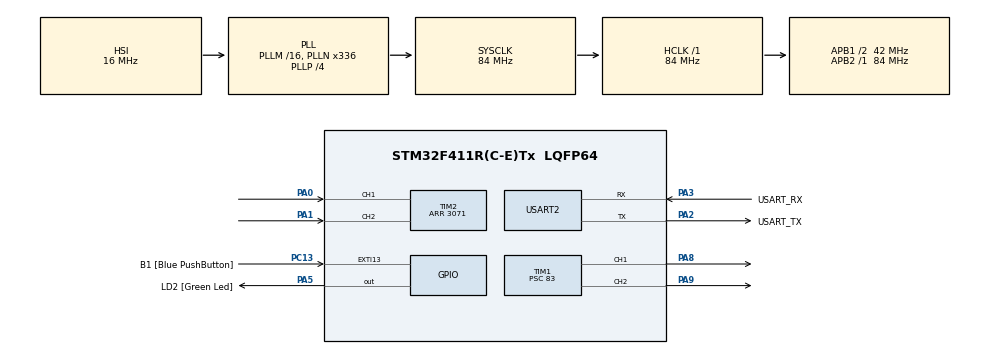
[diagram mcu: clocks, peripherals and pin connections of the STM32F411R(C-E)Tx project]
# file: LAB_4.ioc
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ARM.CMSIS.5.6.0.CMSISJjCORE=true
ARM.CMSIS.5.6.0.CMSISJjDSP=Library
Mcu.Family=STM32F4
Mcu.Name=STM32F411R(C-E)Tx
Mcu.Package=LQFP64
NVIC.PriorityGroup=NVIC_PRIORITYGROUP_0
PA0-WKUP.Signal=S_TIM2_CH1_ETR
PA1.Signal=S_TIM2_CH2
PA13.GPIO_Label=TMS
PA13.Mode=Trace_Asynchronous_SW
PA13.Signal=SYS_JTMS-SWDIO
PA14.GPIO_Label=TCK
PA14.Mode=Trace_Asynchronous_SW
PA14.Signal=SYS_JTCK-SWCLK
PA2.GPIO_Label=USART_TX
PA2.Mode=Asynchronous
PA2.Signal=USART2_TX
PA3.GPIO_Label=USART_RX
PA3.Mode=Asynchronous
PA3.Signal=USART2_RX
PA5.GPIO_Label=LD2 [Green Led]
PA5.Signal=GPIO_Output
PA8.Signal=S_TIM1_CH1
PA9.Signal=S_TIM1_CH2
PB3.GPIO_Label=SWO
PB3.Mode=Trace_Asynchronous_SW
PB3.Signal=SYS_JTDO-SWO
PC13-ANTI_TAMP.GPIO_Label=B1 [Blue PushButton]
PC13-ANTI_TAMP.GPIO_ModeDefaultEXTI=GPIO_MODE_IT_FALLING
PC13-ANTI_TAMP.Signal=GPXTI13
PC14-OSC32_IN.Mode=LSE-External-Oscillator
PC14-OSC32_IN.Signal=RCC_OSC32_IN
PC15-OSC32_OUT.Mode=LSE-External-Oscillator
PC15-OSC32_OUT.Signal=RCC_OSC32_OUT
PH0\ -\ OSC_IN.Mode=HSE-External-Clock-Source
PH0\ -\ OSC_IN.Signal=RCC_OSC_IN
PH1\ -\ OSC_OUT.Mode=HSE-External-Clock-Source
PH1\ -\ OSC_OUT.Signal=RCC_OSC_OUT
ProjectManager.HeapSize=0x200
ProjectManager.StackSize=0x400
ProjectManager.TargetToolchain=STM32CubeIDE
RCC.48MHZClocksFreq_Value=84000000
RCC.AHBFreq_Value=84000000
RCC.APB1CLKDivider=RCC_HCLK_DIV2
RCC.APB1Freq_Value=42000000
RCC.APB1TimFreq_Value=84000000
RCC.APB2Freq_Value=84000000
RCC.APB2TimFreq_Value=84000000
RCC.CortexFreq_Value=84000000
RCC.FLatency-AdvancedSettings=FLASH_LATENCY_2
RCC.HCLKFreq_Value=84000000
RCC.HSE_VALUE=8000000
RCC.HSI_VALUE=16000000
RCC.PLLN=336
RCC.PLLP=RCC_PLLP_DIV4
RCC.SYSCLKFreq_VALUE=84000000
RCC.SYSCLKSource=RCC_SYSCLKSOURCE_PLLCLK
RCC.VCOOutputFreq_Value=336000000
SH.S_TIM1_CH1.0=TIM1_CH1,PWM Generation1 CH1
SH.S_TIM1_CH2.0=TIM1_CH2,PWM Generation2 CH2
SH.S_TIM2_CH1_ETR.0=TIM2_CH1,Encoder_Interface
SH.S_TIM2_CH2.0=TIM2_CH2,Encoder_Interface
TIM1.Channel-PWM\ Generation1\ CH1=TIM_CHANNEL_1
TIM1.Channel-PWM\ Generation2\ CH2=TIM_CHANNEL_2
TIM1.Period=99
TIM1.Prescaler=83
TIM2.Period=3071
USART2.VirtualMode=VM_ASYNC
VP_ARM.CMSIS_VS_CMSISJjCORE_5.3.0_5.6.0.Mode=CMSISJjCORE
VP_ARM.CMSIS_VS_CMSISJjDSP_1.7.0_5.6.0.Mode=CMSISJjDSP
VP_TIM1_VS_ClockSourceINT.Mode=Internal
board=NUCLEO-F411RE

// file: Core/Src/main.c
/* USER CODE BEGIN Header */
/**
  ******************************************************************************
  * @file           : main.c
  * @brief          : Main program body
  ******************************************************************************
  * @attention
  *
  * Copyright (c) 2023 STMicroelectronics.
  * All rights reserved.
  *
  * This software is licensed under terms that can be found in the LICENSE file
  * in the root directory of this software component.
  * If no LICENSE file comes with this software, it is provided AS-IS.
  *
  ******************************************************************************
  */
/* USER CODE END Header */
#include "main.h"

/* USER CODE BEGIN Includes */
#include "math.h"
/* USER CODE END Includes */

TIM_HandleTypeDef htim1;
TIM_HandleTypeDef htim2;

UART_HandleTypeDef huart2;

/* USER CODE BEGIN PV */

uint32_t QEIReadRaw;
int32_t setpoint = 0;
int32_t Error_previous;
int32_t Error;
int8_t Direction = 1;
float degree = 0;
float Kp = 0.8;
float Ki = 0.51;
float Kd = 0.14;
float u = 0;
float PWM = 0;
float e_integral;
float Diff_t;
/* USER CODE END PV */

void SystemClock_Config(void);
static void MX_GPIO_Init(void);
static void MX_USART2_UART_Init(void);
static void MX_TIM1_Init(void);
static void MX_TIM2_Init(void);

int main(void)
{

  /* MCU Configuration--------------------------------------------------------*/

  /* Reset of all peripherals, Initializes the Flash interface and the Systick. */
  HAL_Init();

  /* Configure the system clock */
  SystemClock_Config();

  /* Initialize all configured peripherals */
  MX_GPIO_Init();
  MX_USART2_UART_Init();
  MX_TIM1_Init();
  MX_TIM2_Init();
  /* USER CODE BEGIN 2 */

HAL_TIM_Encoder_Start(&htim2, TIM_CHANNEL_1|TIM_CHANNEL_2);

HAL_TIM_Base_Start(&htim1);

HAL_TIM_PWM_Start(&htim1, TIM_CHANNEL_1);
HAL_TIM_PWM_Start(&htim1, TIM_CHANNEL_2);

  /* USER CODE END 2 */

  /* Infinite loop */
  while (1)
  {

    /* USER CODE BEGIN 3 */

	  static uint64_t timestamp = 0;

	  if (HAL_GetTick() > timestamp) // 100 Hz
	  {
		  timestamp = HAL_GetTick() + 10;
		  QEIReadRaw = __HAL_TIM_GET_COUNTER(&htim2);
		  degree = (QEIReadRaw *360) / 3071; // Degree Convert
		  float Delta_T = 0.01; // Delta T value
		  Error = setpoint - degree ; //error
		  Diff_t = (Error - Error_previous) / Delta_T ; //Differential Time
		  e_integral = e_integral + (Error * Delta_T);//integral Error
		  u = (Kp * Error) + (Ki * e_integral) + (Kd * Diff_t) ;//PID calculate
		  PWM = fabs(u); // set PWM = Absolute u
		  if (PWM > 100){PWM = 100;} // Limit PWM
		  Direction = 1; // Motor start
		  if (u < 0){Direction = -1;} // Invert Motor
		  if (Direction == 1){
			  __HAL_TIM_SET_COMPARE(&htim1, TIM_CHANNEL_2, PWM);
			  __HAL_TIM_SET_COMPARE(&htim1, TIM_CHANNEL_1, 0);
		  }
		  else if (Direction == -1){
			  __HAL_TIM_SET_COMPARE(&htim1, TIM_CHANNEL_2, 0);
			  __HAL_TIM_SET_COMPARE(&htim1, TIM_CHANNEL_1, PWM);
		  }
		  if (Error == 0){e_integral = 0;} // Set zero stack value of Ki
	  }
	  Error_previous = Error;
  }
  /* USER CODE END 3 */
}

void SystemClock_Config(void)
{
  RCC_OscInitTypeDef RCC_OscInitStruct = {0};
  RCC_ClkInitTypeDef RCC_ClkInitStruct = {0};

  /** Configure the main internal regulator output voltage
  */
  __HAL_RCC_PWR_CLK_ENABLE();
  __HAL_PWR_VOLTAGESCALING_CONFIG(PWR_REGULATOR_VOLTAGE_SCALE1);

  /** Initializes the RCC Oscillators according to the specified parameters
  * in the RCC_OscInitTypeDef structure.
  */
  RCC_OscInitStruct.OscillatorType = RCC_OSCILLATORTYPE_HSI;
  RCC_OscInitStruct.HSIState = RCC_HSI_ON;
  RCC_OscInitStruct.HSICalibrationValue = RCC_HSICALIBRATION_DEFAULT;
  RCC_OscInitStruct.PLL.PLLState = RCC_PLL_ON;
  RCC_OscInitStruct.PLL.PLLSource = RCC_PLLSOURCE_HSI;
  RCC_OscInitStruct.PLL.PLLM = 16;
  RCC_OscInitStruct.PLL.PLLN = 336;
  RCC_OscInitStruct.PLL.PLLP = RCC_PLLP_DIV4;
  RCC_OscInitStruct.PLL.PLLQ = 4;
  if (HAL_RCC_OscConfig(&RCC_OscInitStruct) != HAL_OK)
  {
    Error_Handler();
  }

  /** Initializes the CPU, AHB and APB buses clocks
  */
  RCC_ClkInitStruct.ClockType = RCC_CLOCKTYPE_HCLK|RCC_CLOCKTYPE_SYSCLK
                              |RCC_CLOCKTYPE_PCLK1|RCC_CLOCKTYPE_PCLK2;
  RCC_ClkInitStruct.SYSCLKSource = RCC_SYSCLKSOURCE_PLLCLK;
  RCC_ClkInitStruct.AHBCLKDivider = RCC_SYSCLK_DIV1;
  RCC_ClkInitStruct.APB1CLKDivider = RCC_HCLK_DIV2;
  RCC_ClkInitStruct.APB2CLKDivider = RCC_HCLK_DIV1;

  if (HAL_RCC_ClockConfig(&RCC_ClkInitStruct, FLASH_LATENCY_2) != HAL_OK)
  {
    Error_Handler();
  }
}

static void MX_TIM1_Init(void)
{

  TIM_ClockConfigTypeDef sClockSourceConfig = {0};
  TIM_MasterConfigTypeDef sMasterConfig = {0};
  TIM_OC_InitTypeDef sConfigOC = {0};
  TIM_BreakDeadTimeConfigTypeDef sBreakDeadTimeConfig = {0};

  htim1.Instance = TIM1;
  htim1.Init.Prescaler = 83;
  htim1.Init.CounterMode = TIM_COUNTERMODE_UP;
  htim1.Init.Period = 99;
  htim1.Init.ClockDivision = TIM_CLOCKDIVISION_DIV1;
  htim1.Init.RepetitionCounter = 0;
  htim1.Init.AutoReloadPreload = TIM_AUTORELOAD_PRELOAD_DISABLE;
  if (HAL_TIM_Base_Init(&htim1) != HAL_OK)
  {
    Error_Handler();
  }
  sClockSourceConfig.ClockSource = TIM_CLOCKSOURCE_INTERNAL;
  if (HAL_TIM_ConfigClockSource(&htim1, &sClockSourceConfig) != HAL_OK)
  {
    Error_Handler();
  }
  if (HAL_TIM_PWM_Init(&htim1) != HAL_OK)
  {
    Error_Handler();
  }
  sMasterConfig.MasterOutputTrigger = TIM_TRGO_RESET;
  sMasterConfig.MasterSlaveMode = TIM_MASTERSLAVEMODE_DISABLE;
  if (HAL_TIMEx_MasterConfigSynchronization(&htim1, &sMasterConfig) != HAL_OK)
  {
    Error_Handler();
  }
  sConfigOC.OCMode = TIM_OCMODE_PWM1;
  sConfigOC.Pulse = 0;
  sConfigOC.OCPolarity = TIM_OCPOLARITY_HIGH;
  sConfigOC.OCNPolarity = TIM_OCNPOLARITY_HIGH;
  sConfigOC.OCFastMode = TIM_OCFAST_DISABLE;
  sConfigOC.OCIdleState = TIM_OCIDLESTATE_RESET;
  sConfigOC.OCNIdleState = TIM_OCNIDLESTATE_RESET;
  if (HAL_TIM_PWM_ConfigChannel(&htim1, &sConfigOC, TIM_CHANNEL_1) != HAL_OK)
  {
    Error_Handler();
  }
  if (HAL_TIM_PWM_ConfigChannel(&htim1, &sConfigOC, TIM_CHANNEL_2) != HAL_OK)
  {
    Error_Handler();
  }
  sBreakDeadTimeConfig.OffStateRunMode = TIM_OSSR_DISABLE;
  sBreakDeadTimeConfig.OffStateIDLEMode = TIM_OSSI_DISABLE;
  sBreakDeadTimeConfig.LockLevel = TIM_LOCKLEVEL_OFF;
  sBreakDeadTimeConfig.DeadTime = 0;
  sBreakDeadTimeConfig.BreakState = TIM_BREAK_DISABLE;
  sBreakDeadTimeConfig.BreakPolarity = TIM_BREAKPOLARITY_HIGH;
  sBreakDeadTimeConfig.AutomaticOutput = TIM_AUTOMATICOUTPUT_DISABLE;
  if (HAL_TIMEx_ConfigBreakDeadTime(&htim1, &sBreakDeadTimeConfig) != HAL_OK)
  {
    Error_Handler();
  }
  HAL_TIM_MspPostInit(&htim1);

}

static void MX_TIM2_Init(void)
{

  TIM_Encoder_InitTypeDef sConfig = {0};
  TIM_MasterConfigTypeDef sMasterConfig = {0};

  htim2.Instance = TIM2;
  htim2.Init.Prescaler = 0;
  htim2.Init.CounterMode = TIM_COUNTERMODE_UP;
  htim2.Init.Period = 3071;
  htim2.Init.ClockDivision = TIM_CLOCKDIVISION_DIV1;
  htim2.Init.AutoReloadPreload = TIM_AUTORELOAD_PRELOAD_DISABLE;
  sConfig.EncoderMode = TIM_ENCODERMODE_TI1;
  sConfig.IC1Polarity = TIM_ICPOLARITY_RISING;
  sConfig.IC1Selection = TIM_ICSELECTION_DIRECTTI;
  sConfig.IC1Prescaler = TIM_ICPSC_DIV1;
  sConfig.IC1Filter = 0;
  sConfig.IC2Polarity = TIM_ICPOLARITY_RISING;
  sConfig.IC2Selection = TIM_ICSELECTION_DIRECTTI;
  sConfig.IC2Prescaler = TIM_ICPSC_DIV1;
  sConfig.IC2Filter = 0;
  if (HAL_TIM_Encoder_Init(&htim2, &sConfig) != HAL_OK)
  {
    Error_Handler();
  }
  sMasterConfig.MasterOutputTrigger = TIM_TRGO_RESET;
  sMasterConfig.MasterSlaveMode = TIM_MASTERSLAVEMODE_DISABLE;
  if (HAL_TIMEx_MasterConfigSynchronization(&htim2, &sMasterConfig) != HAL_OK)
  {
    Error_Handler();
  }

}

static void MX_USART2_UART_Init(void)
{

  huart2.Instance = USART2;
  huart2.Init.BaudRate = 115200;
  huart2.Init.WordLength = UART_WORDLENGTH_8B;
  huart2.Init.StopBits = UART_STOPBITS_1;
  huart2.Init.Parity = UART_PARITY_NONE;
  huart2.Init.Mode = UART_MODE_TX_RX;
  huart2.Init.HwFlowCtl = UART_HWCONTROL_NONE;
  huart2.Init.OverSampling = UART_OVERSAMPLING_16;
  if (HAL_UART_Init(&huart2) != HAL_OK)
  {
    Error_Handler();
  }

}

static void MX_GPIO_Init(void)
{
  GPIO_InitTypeDef GPIO_InitStruct = {0};

  /* GPIO Ports Clock Enable */
  __HAL_RCC_GPIOC_CLK_ENABLE();
  __HAL_RCC_GPIOH_CLK_ENABLE();
  __HAL_RCC_GPIOA_CLK_ENABLE();
  __HAL_RCC_GPIOB_CLK_ENABLE();

  /*Configure GPIO pin Output Level */
  HAL_GPIO_WritePin(LD2_GPIO_Port, LD2_Pin, GPIO_PIN_RESET);

  /*Configure GPIO pin : B1_Pin */
  GPIO_InitStruct.Pin = B1_Pin;
  GPIO_InitStruct.Mode = GPIO_MODE_IT_FALLING;
  GPIO_InitStruct.Pull = GPIO_NOPULL;
  HAL_GPIO_Init(B1_GPIO_Port, &GPIO_InitStruct);

  /*Configure GPIO pin : LD2_Pin */
  GPIO_InitStruct.Pin = LD2_Pin;
  GPIO_InitStruct.Mode = GPIO_MODE_OUTPUT_PP;
  GPIO_InitStruct.Pull = GPIO_NOPULL;
  GPIO_InitStruct.Speed = GPIO_SPEED_FREQ_LOW;
  HAL_GPIO_Init(LD2_GPIO_Port, &GPIO_InitStruct);

}

void Error_Handler(void)
{
  __disable_irq();
  while (1)
  {
  }
}
